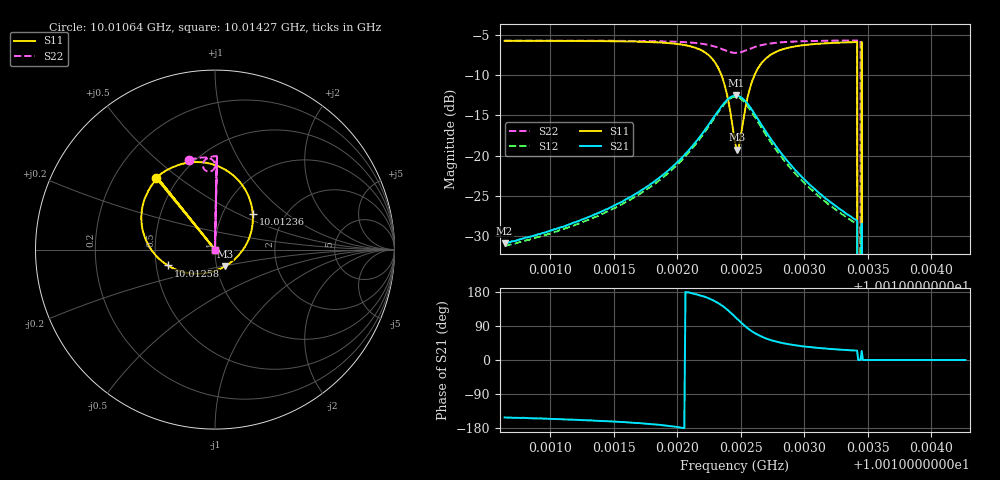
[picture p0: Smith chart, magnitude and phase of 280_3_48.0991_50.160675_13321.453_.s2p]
#  HZ  S  RI  R  50.00
! Rohde & Schwarz Vector Network Analyzer
! Rohde-Schwarz,ZNB20-2Port,1311601062101988,3.16
! Created: UTC 12/23/2023, 4:02:40 AM
! freq[Hz]  re:S11  im:S11  re:S21  im:S21  re:S12  im:S12  re:S22  im:S22
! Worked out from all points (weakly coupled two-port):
!   401 points, 10.01064 GHz to 10.01427 GHz, reference 50 ohm
!   highest |S21| = -12.51 dB at 10.01246 GHz (marker M1); lowest = -31.0 dB at 10.01064 GHz (marker M2)
!   lowest |S11| = -19.3 dB at 10.01247 GHz (marker M3), VSWR 1.24, Z = 54.8 - j10.4 ohm
!   |S11| at or under -10 dB: 10.01235 GHz to 10.01261 GHz (260.2 kHz wide, 0.0026 % of centre); 10.01342 GHz to 10.01345 GHz (35.93 kHz wide, 0.000359 % of centre); 10.01345 GHz to end of sweep
!   |S22| runs from - to -5.7 dB; largest |S21 - S12| = 0.036
!   S11 on the Smith chart (normalised r, x): 10.01064 GHz: 0.38, +0.42; 10.01236 GHz: 1.38, +0.61; 10.01258 GHz: 0.58, -0.11; 10.01427 GHz: 1.00, +0.00
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1.0010639e10  -0.3276 0.4015  -0.0249 -0.0135  -0.0232 -0.0142  -0.1422 0.4999
1.0011247e10  -0.2703 0.4415  -0.0371 -0.0146  -0.0349 -0.0157  -0.1005 0.5097
1.0011855e10  -0.1509 0.4841  -0.0715 -0.0113  -0.0682 -0.0146  -0.051 0.5132
1.0012191e10  0.0484 0.4497  -0.1328 0.0249  -0.1305 0.0165  -0.0117 0.4976
1.0012282e10  0.1461 0.3669  -0.1576 0.0656  -0.1573 0.0549  -0.00121 0.4816
1.0012364e10  0.2103 0.2009  -0.1627 0.1323  -0.1659 0.1226  -0.00141 0.457
1.0012455e10  0.1075 -0.0556  -0.0965 0.2162  -0.1028 0.2083  -0.0284 0.435
1.0012464e10  0.0819 -0.0762  -0.085 0.221  -0.0907 0.2137  -0.0325 0.4349
1.0012473e10  0.0553 -0.0933  -0.0738 0.2245  -0.079 0.2176  -0.0367 0.4349
1.0012582e10  -0.2629 -0.0882  0.0437 0.1912  0.0375 0.185  -0.0668 0.4613
1.0012727e10  -0.4041 0.1141  0.0775 0.1047  0.07 0.1025  -0.059 0.495
1.0013063e10  -0.3747 0.3216  0.0533 0.0351  0.049 0.0358  -0.0221 0.5167
1.0013399e10  -0.326 0.3913  0.0362 0.0169  0.0337 0.0179  0.00698 0.5212
1.0013417e10  -0.3238 0.3937  0.0356 0.0165  0.033 0.0174  0.00845 0.5213
1.0013426e10  0 0  0 0  0 0  0 0
1.0013435e10  0 0  0 0  0 0  0 0
1.0013444e10  0 0  0 0  0.0323 0.0164  0.0105 0.5213
1.0013462e10  0 0  0 0  0 0  0 0
1.0013471e10  0 0  0 0  0 0  0 0
1.001348e10  0 0  0 0  0 0  0 0
1.0013671e10  0 0  0 0  0 0  0 0
1.001427e10  0 0  0 0  0 0  0 0
